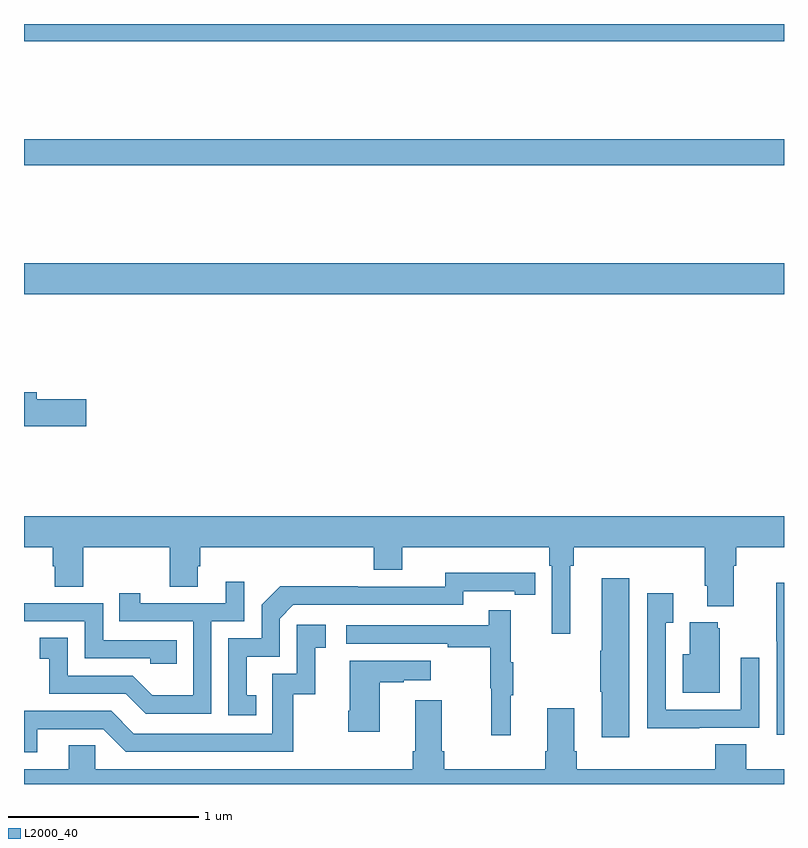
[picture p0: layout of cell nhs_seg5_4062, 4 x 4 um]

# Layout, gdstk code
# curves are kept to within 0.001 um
import gdstk
lib = gdstk.Library(unit=1e-6, precision=1e-09)
def R(c, l, rs):  # rectangles x0, y0, x1, y1
    for r in rs: c.add(gdstk.rectangle(r[:2], r[2:], *l))
def P(c, l, *ps):  # polygons
    for p in ps: c.add(gdstk.Polygon(p, *l))
L2000_40 = (2000, 40)

nhs_seg5_4062 = lib.new_cell('nhs_seg5_4062')
R(nhs_seg5_4062, L2000_40, [(349,907.376,353,907.54), (349,908.056,353,908.192), (349,908.708,353,908.799)])
P(nhs_seg5_4062, L2000_40, [(349.327,906.824),(349.066,906.824),(349.066,906.86),(349,906.86),(349,906.682),(349.327,906.682)],
  [(351.874,905.948),(351.893,905.948),(351.893,906.044),(352.583,906.044),(352.583,905.842),(352.595,905.842),(352.595,905.735),(352.735,905.735),(352.735,905.948),(352.748,905.948),(352.748,906.044),(353,906.044),(353,906.208),(349,906.208),(349,906.044),(349.151,906.044),(349.151,905.946),(349.163,905.946),(349.163,905.836),(349.311,905.836),(349.311,906.044),(349.768,906.044),(349.768,905.836),(349.915,905.836),(349.915,905.946),(349.928,905.946),(349.928,906.044),(350.84,906.044),(350.84,905.927),(350.992,905.927),(350.992,906.044),(351.764,906.044),(351.764,905.948),(351.777,905.948),(351.777,905.589),(351.874,905.589)],
  [(350.222,905.265),(350.173,905.265),(350.173,905.469),(350.346,905.469),(350.346,905.67),(350.418,905.742),(351.312,905.742),(351.312,905.814),(351.584,905.814),(351.584,905.794),(351.692,905.794),(351.692,905.91),(351.216,905.911),(351.216,905.838),(350.756,905.838),(350.756,905.84),(350.348,905.84),(350.25,905.742),(350.25,905.565),(350.076,905.565),(350.076,905.16),(350.222,905.16)],
  [(352.186,905.881),(352.04,905.881),(352.04,905.501),(352.033,905.501),(352.033,905.284),(352.04,905.284),(352.04,905.046),(352.186,905.046)],
  [(349.986,905.655),(350.16,905.655),(350.16,905.863),(350.063,905.863),(350.063,905.751),(349.612,905.751),(349.612,905.803),(349.501,905.803),(349.501,905.655),(349.89,905.655),(349.89,905.266),(349.676,905.266),(349.572,905.37),(349.23,905.37),(349.23,905.569),(349.083,905.569),(349.083,905.459),(349.132,905.459),(349.132,905.274),(349.535,905.274),(349.64,905.169),(349.986,905.169)],
  [(353,905.858),(352.96,905.858),(352.96,905.551),(352.962,905.551),(352.962,905.058),(353,905.058)],
  [(352.553,905.094),(352.869,905.094),(352.869,905.464),(352.773,905.464),(352.773,905.19),(352.377,905.19),(352.377,905.647),(352.417,905.647),(352.417,905.803),(352.281,905.803),(352.281,905.093),(352.553,905.093)],
  [(349.805,905.556),(349.416,905.556),(349.416,905.751),(349,905.751),(349,905.655),(349.32,905.655),(349.32,905.46),(349.665,905.46),(349.665,905.433),(349.805,905.433)],
  [(351.563,905.267),(351.574,905.267),(351.574,905.441),(351.563,905.441),(351.563,905.713),(351.445,905.713),(351.445,905.634),(350.697,905.634),(350.697,905.538),(351.229,905.538),(351.229,905.518),(351.453,905.518),(351.453,905.304),(351.46,905.304),(351.46,905.055),(351.563,905.055)],
  [(352.663,905.619),(352.652,905.619),(352.652,905.65),(352.505,905.65),(352.505,905.482),(352.466,905.482),(352.466,905.279),(352.663,905.279)],
  [(349.069,905.088),(349.416,905.088),(349.536,904.968),(350.416,904.968),(350.416,905.271),(350.534,905.271),(350.534,905.517),(350.587,905.517),(350.587,905.638),(350.436,905.638),(350.436,905.379),(350.307,905.379),(350.307,905.064),(349.578,905.064),(349.458,905.184),(349,905.184),(349,904.965),(349.069,904.965)],
  [(350.872,905.335),(350.999,905.335),(350.999,905.345),(351.142,905.345),(351.142,905.449),(350.714,905.449),(350.714,905.185),(350.707,905.185),(350.707,905.073),(350.872,905.073)],
  [(353,904.876),(352.802,904.876),(352.802,905.009),(352.637,905.009),(352.637,904.876),(351.908,904.876),(351.908,904.972),(351.895,904.972),(351.895,905.197),(351.755,905.197),(351.755,904.972),(351.743,904.972),(351.743,904.876),(351.212,904.876),(351.212,904.972),(351.199,904.972),(351.199,905.239),(351.059,905.239),(351.059,904.972),(351.047,904.972),(351.047,904.876),(349.374,904.876),(349.374,905.003),(349.235,905.003),(349.235,904.876),(349,904.876),(349,904.799),(353,904.799)])

lib.write_gds('nhs_seg5_4062.gds')
